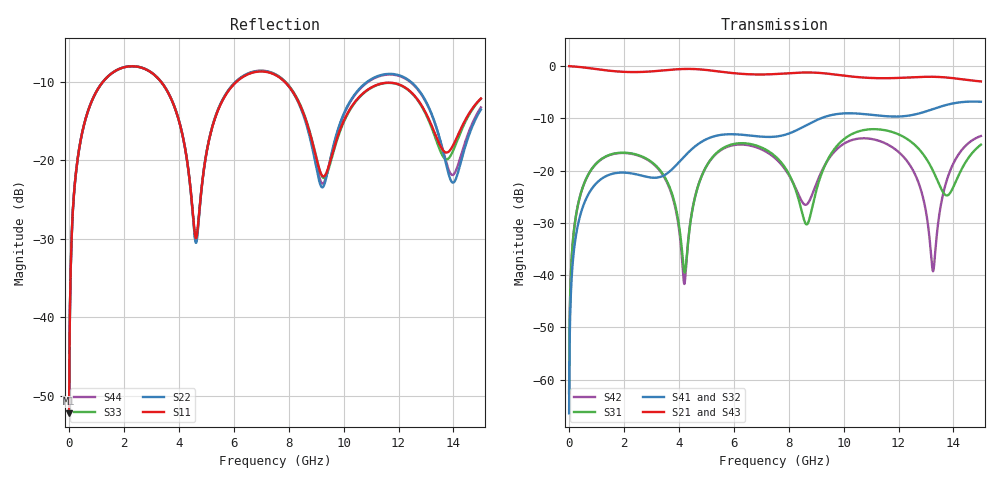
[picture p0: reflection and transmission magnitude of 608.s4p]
! Created with skrf 1.8.0 (http://scikit-rf.org).
# GHz S RI R 50.0
!freq ReS11 ImS11 ReS12 ImS12 ReS13 ImS13
! ReS14 ImS14
! ReS21 ImS21 ReS22 ImS22 ReS23 ImS23
! ReS24 ImS24
! ReS31 ImS31 ReS32 ImS32 ReS33 ImS33
! ReS34 ImS34
! ReS41 ImS41 ReS42 ImS42 ReS43 ImS43
! ReS44 ImS44
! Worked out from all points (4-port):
!   2499 points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, 5 MHz to 15 GHz, reference 50 ohm
!   strongest paths, dB at 5 MHz, 3.476 GHz, 7.19 GHz, 11.1 GHz, 15 GHz:
!     S21: 0.0, -0.8, -1.6, -2.3, -2.9
!     S43: 0.0, -0.8, -1.6, -2.3, -2.9
!     S41: -66.4, -20.9, -13.6, -9.4, -6.8
!     S32: -66.4, -20.9, -13.6, -9.4, -6.8
!     S31: -62.6, -21.1, -16.1, -12.1, -15.0
!     S42: -62.6, -21.3, -16.4, -14.0, -13.4
!   lowest |S11| = -52.3 dB at 5 MHz (marker M1), VSWR 1.00, Z = 50.2 + j0.148 ohm
!   |S11| at or under -10 dB: start of sweep to 1.245 GHz; 3.345 GHz to 6.11 GHz (2.765 GHz wide, 58.5 % of centre); 7.846 GHz to end of sweep
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0.005  0.00194 0.00148  0.998 -0.00377  9.73e-05 0.000736  -9.46e-05 -0.000467
       0.998 -0.00377  0.00194 0.00148  -9.46e-05 -0.000467  9.72e-05 0.000736
       9.73e-05 0.000736  -9.46e-05 -0.000467  0.00194 0.00148  0.998 -0.00377
       -9.46e-05 -0.000467  9.72e-05 0.000736  0.998 -0.00377  0.00194 0.00148
1.3193  0.2739 0.1792  0.5438 -0.7326  0.1236 0.0561  -0.0876 -0.00564
        0.5438 -0.7326  0.2746 0.1787  -0.0875 -0.0057  0.122 0.0582
        0.1236 0.0561  -0.0875 -0.0057  0.274 0.1791  0.5438 -0.7326
        -0.0876 -0.00564  0.122 0.0582  0.5438 -0.7326  0.2745 0.1787
4.195498  0.0636 -0.1109  -0.8739 -0.3421  -0.0101 -0.00385  -0.0451 0.1284
          -0.8739 -0.3421  0.0613 -0.1122  -0.046 0.1281  -0.00797 -0.0022
          -0.0101 -0.00385  -0.046 0.1281  0.0633 -0.1109  -0.874 -0.3419
          -0.0451 0.1284  -0.00797 -0.0022  -0.874 -0.3419  0.0616 -0.1121
7.12797  0.3648 -0.0242  -0.0134 0.8318  0.1357 -0.0863  0.2019 -0.0592
         -0.0134 0.8318  0.3671 -0.0316  0.2018 -0.0569  0.1336 -0.0769
         0.1357 -0.0863  0.2018 -0.0569  0.3669 -0.0255  -0.0131 0.831
         0.2019 -0.0592  0.1336 -0.0769  -0.0131 0.831  0.3687 -0.0306
9.566486  0.0952 0.0471  0.8359 -0.0551  0.0699 0.13  -0.0456 -0.3373
          0.8359 -0.0551  0.0902 0.0647  -0.0412 -0.338  0.0277 0.1389
          0.0699 0.13  -0.0412 -0.338  0.0926 0.0441  0.8361 -0.0544
          -0.0456 -0.3373  0.0277 0.1389  0.8361 -0.0544  0.0924 0.06
13.25552  0.1415 -0.071  -0.5997 -0.5144  -0.0608 -0.0791  -0.2394 0.3051
          -0.5997 -0.5144  0.1297 -0.1347  -0.2467 0.2991  -0.0105 -0.00282
          -0.0608 -0.0791  -0.2467 0.2991  0.133 -0.0746  -0.6016 -0.513
          -0.2394 0.3051  -0.0105 -0.00282  -0.6016 -0.513  0.1337 -0.1287
15  0.2276 0.0953  -0.6374 0.3199  0.1664 0.0603  0.2634 0.3717
    -0.6374 0.3199  0.181 0.1063  0.2557 0.3784  0.1984 0.081
    0.1664 0.0603  0.2557 0.3784  0.2224 0.1041  -0.6353 0.3224
    0.2634 0.3717  0.1984 0.081  -0.6353 0.3224  0.1908 0.1023
